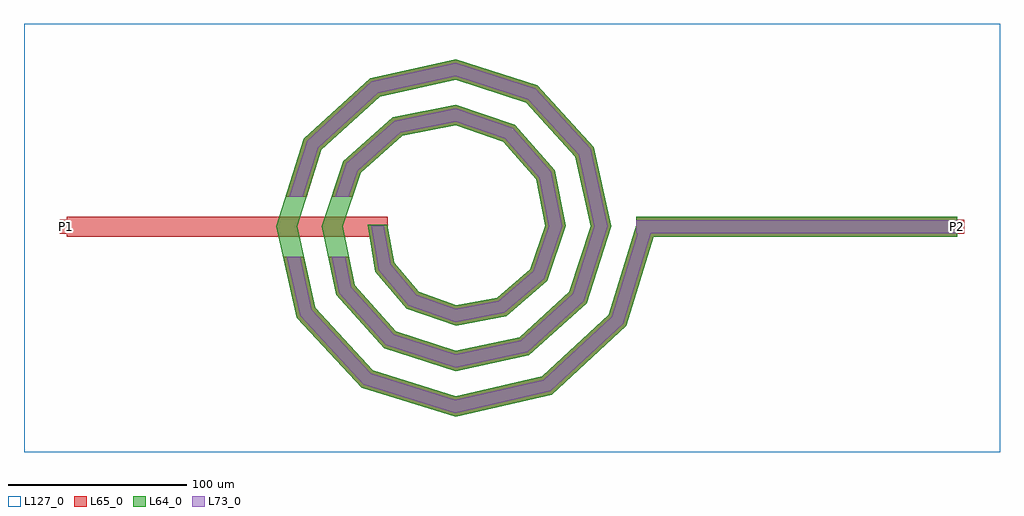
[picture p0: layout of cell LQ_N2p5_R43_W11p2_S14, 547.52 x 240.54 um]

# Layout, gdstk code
import gdstk
lib = gdstk.Library(unit=1e-6, precision=1e-09)
def R(c, l, rs):  # rectangles x0, y0, x1, y1
    for r in rs: c.add(gdstk.rectangle(r[:2], r[2:], *l))
def P(c, l, *ps):  # polygons
    for p in ps: c.add(gdstk.Polygon(p, *l))
L64_0 = (64, 0)
L65_0 = (65, 0)
L73_0 = (73, 0)
L127_0 = (127, 0)

lq_n2p5_r43_w11p2_s14 = lib.new_cell('LQ_N2p5_R43_W11p2_S14')
R(lq_n2p5_r43_w11p2_s14, L64_0, [(101.621,-5.6,281.621,5.6)])
P(lq_n2p5_r43_w11p2_s14, L64_0, [(-34.252,-20.355),(-20.566,-36.581),(0.46,-44.086),(23.487,-39.798),(42.069,-23.799),(50.455,0.408),(45.338,26.63),(27.023,47.563),(0.366,56.825),(-29.781,50.874),(-53.062,30.239),(-63.196,0.333),(-56.407,-32.94),(-33.45,-58.565),(0.305,-69.568),(36.102,-61.938),(64.07,-36.658),(75.939,0.281),(67.468,39.269),(39.862,69.577),(0.261,82.311),(-42.438,72.995),(-75.086,43.064),(-88.683,0.243),(-78.522,-45.609),(-46.264,-80.597),(0.228,-95.055),(48.783,-84.048),(86.108,-49.462),(101.87,1.65),(112.573,-1.65),(95.925,-55.635),(54.19,-94.306),(0.228,-106.642),(-52.46,-90.399),(-88.794,-50.991),(-100.269,0.243),(-84.872,49.288),(-47.79,83.283),(0.261,93.896),(46.117,79.343),(77.774,44.586),(87.523,0.281),(73.813,-42.949),(41.38,-72.265),(0.305,-81.149),(-39.784,-68.28),(-66.759,-38.17),(-74.775,0.333),(-62.745,36.622),(-34.956,61.254),(0.366,68.401),(33.466,57.207),(55.753,31.735),(62.026,0.408),(51.664,-30.317),(28.506,-50.255),(0.46,-55.65),(-27.178,-46.113),(-44.764,-25.264),(-49.012,0.964),(-37.979,0.964)])
R(lq_n2p5_r43_w11p2_s14, L65_0, [(-217.895,-5.6,-37.895,5.6), (101.621,-5.6,281.621,5.6), (-221.895,-4,-213.895,4), (277.621,-4,285.621,4)])
P(lq_n2p5_r43_w11p2_s14, L65_0, [(-78.522,-45.609),(-46.264,-80.597),(0.228,-95.055),(48.783,-84.048),(86.108,-49.462),(101.87,1.65),(112.573,-1.65),(95.925,-55.635),(54.19,-94.306),(0.228,-106.642),(-52.46,-90.399),(-88.794,-50.991),(-96.452,-16.8),(-84.975,-16.8)],
  [(-56.407,-32.94),(-33.45,-58.565),(0.305,-69.568),(36.102,-61.938),(64.07,-36.658),(75.939,0.281),(67.468,39.269),(39.862,69.578),(0.261,82.311),(-42.438,72.996),(-75.087,43.064),(-83.332,16.8),(-95.071,16.8),(-84.872,49.288),(-47.79,83.283),(0.261,93.896),(46.117,79.343),(77.774,44.586),(87.523,0.281),(73.813,-42.949),(41.38,-72.265),(0.305,-81.149),(-39.784,-68.28),(-66.759,-38.17),(-71.208,-16.8),(-59.768,-16.8)],
  [(-20.566,-36.581),(0.46,-44.086),(23.487,-39.798),(42.069,-23.799),(50.455,0.408),(45.338,26.63),(27.023,47.563),(0.367,56.826),(-29.782,50.874),(-53.062,30.239),(-57.517,16.8),(-69.316,16.8),(-62.745,36.622),(-34.956,61.254),(0.367,68.401),(33.466,57.207),(55.753,31.735),(62.026,0.408),(51.664,-30.317),(28.506,-50.255),(0.46,-55.65),(-27.178,-46.113),(-44.764,-25.264),(-49.012,0.964),(-37.979,0.964),(-34.252,-20.355)])
R(lq_n2p5_r43_w11p2_s14, L73_0, [(101.621,-3.6,281.621,3.6)])
P(lq_n2p5_r43_w11p2_s14, L73_0, [(-80.357,-46.57),(-47.371,-82.347),(0.146,-97.124),(49.748,-85.88),(87.861,-50.564),(103.781,1.061),(110.661,-1.061),(94.172,-54.533),(53.225,-92.474),(0.146,-104.573),(-51.354,-88.649),(-86.96,-50.03),(-94.403,-16.8),(-87.024,-16.8)],
  [(-58.256,-33.874),(-34.581,-60.3),(0.196,-71.636),(37.045,-63.783),(65.81,-37.781),(78.008,0.181),(69.308,40.218),(40.979,71.321),(0.168,84.38),(-43.394,74.833),(-76.834,44.175),(-85.428,16.8),(-92.975,16.8),(-83.124,48.176),(-46.834,81.446),(0.168,91.827),(45,77.599),(75.933,43.637),(85.454,0.181),(72.073,-41.825),(40.438,-70.421),(0.196,-79.081),(-38.653,-66.545),(-64.91,-37.236),(-69.165,-16.8),(-61.811,-16.8)],
  [(-21.747,-38.284),(0.296,-46.151),(24.383,-41.665),(43.782,-24.963),(52.521,0.262),(47.198,27.541),(28.173,49.285),(0.236,58.893),(-30.706,52.728),(-54.791,31.379),(-59.624,16.8),(-67.209,16.8),(-61.016,35.483),(-34.032,59.401),(0.236,66.334),(32.316,55.485),(53.893,30.823),(59.96,0.262),(49.95,-29.153),(27.609,-48.388),(0.296,-53.585),(-25.997,-44.411),(-42.887,-24.388),(-47.042,0.62),(-39.949,0.62),(-36.129,-21.232)])
R(lq_n2p5_r43_w11p2_s14, L127_0, [(-241.895,-126.642,305.621,113.896)])
lq_n2p5_r43_w11p2_s14.add(gdstk.Label('P2', (281.621,0), layer=65, texttype=0))
lq_n2p5_r43_w11p2_s14.add(gdstk.Label('P1', (-217.895,0), layer=65, texttype=0))
lq_n2p5_r43_w11p2_s14.add(gdstk.Label('P2', (285.621,0), layer=145, texttype=0))
lq_n2p5_r43_w11p2_s14.add(gdstk.Label('P1', (-221.895,0), layer=145, texttype=0))

lib.write_gds('LQ_N2p5_R43_W11p2_S14.gds')
